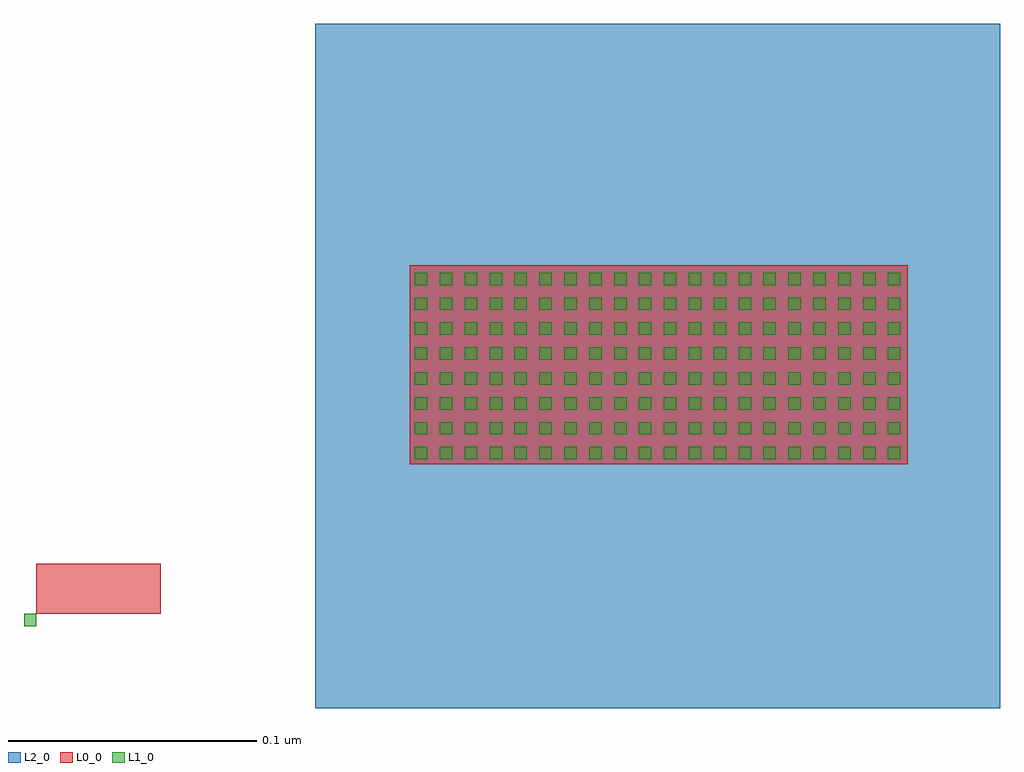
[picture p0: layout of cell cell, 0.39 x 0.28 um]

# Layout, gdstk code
import gdstk
lib = gdstk.Library(unit=1e-6, precision=1e-09)
def R(c, l, rs):  # rectangles x0, y0, x1, y1
    for r in rs: c.add(gdstk.rectangle(r[:2], r[2:], *l))
def A(c, l, x, y, w, h, nx, ny, dx, dy):  # array of equal rectangles
    R(c, l, [(x+i*dx, y+j*dy, x+i*dx+w, y+j*dy+h) for i in range(nx) for j in range(ny)])
L0_0 = (0, 0)
L1_0 = (1, 0)
L2_0 = (2, 0)

cell = lib.new_cell('cell')
R(cell, L0_0, [(0,0,0.05,0.02), (0.15,0.06,0.35,0.14)])
A(cell, L1_0, 0.152, 0.062, 0.005, 0.005, 20, 8, 0.01, 0.01)
R(cell, L1_0, [(-0.005,-0.005,0,0)])
R(cell, L2_0, [(0.112,-0.038,0.387,0.237)])

lib.write_gds('cell.gds')
